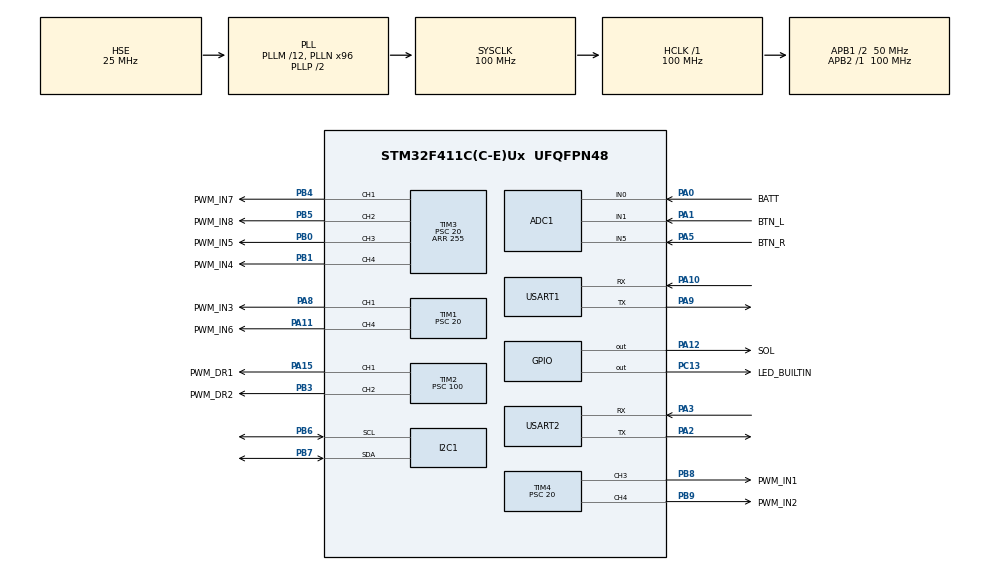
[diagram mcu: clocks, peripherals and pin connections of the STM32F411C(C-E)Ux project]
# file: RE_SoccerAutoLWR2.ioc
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ADC1.Channel-0\#ChannelRegularConversion=ADC_CHANNEL_0
ADC1.Channel-4\#ChannelRegularConversion=ADC_CHANNEL_1
ADC1.Channel-5\#ChannelRegularConversion=ADC_CHANNEL_5
ADC1.ClockPrescaler=ADC_CLOCK_SYNC_PCLK_DIV8
ADC1.ContinuousConvMode=ENABLE
ADC1.DMAContinuousRequests=ENABLE
ADC1.EOCSelection=ADC_EOC_SEQ_CONV
ADC1.InjNumberOfConversion=0
ADC1.NbrOfConversion=3
ADC1.NbrOfConversionFlag=1
ADC1.Rank-0\#ChannelRegularConversion=1
ADC1.Rank-4\#ChannelRegularConversion=2
ADC1.Rank-5\#ChannelRegularConversion=3
ADC1.SamplingTime-0\#ChannelRegularConversion=ADC_SAMPLETIME_480CYCLES
ADC1.SamplingTime-4\#ChannelRegularConversion=ADC_SAMPLETIME_480CYCLES
ADC1.SamplingTime-5\#ChannelRegularConversion=ADC_SAMPLETIME_480CYCLES
ADC1.ScanConvMode=ENABLE
ADC1.master=1
Dma.ADC1.0.Direction=DMA_PERIPH_TO_MEMORY
Dma.ADC1.0.FIFOMode=DMA_FIFOMODE_DISABLE
Dma.ADC1.0.Instance=DMA2_Stream0
Dma.ADC1.0.MemDataAlignment=DMA_MDATAALIGN_HALFWORD
Dma.ADC1.0.MemInc=DMA_MINC_ENABLE
Dma.ADC1.0.Mode=DMA_CIRCULAR
Dma.ADC1.0.PeriphDataAlignment=DMA_PDATAALIGN_HALFWORD
Dma.ADC1.0.PeriphInc=DMA_PINC_DISABLE
Dma.ADC1.0.Priority=DMA_PRIORITY_LOW
Dma.Request0=ADC1
Dma.Request1=USART1_RX
Dma.Request2=USART2_RX
Dma.USART1_RX.1.Direction=DMA_PERIPH_TO_MEMORY
Dma.USART1_RX.1.FIFOMode=DMA_FIFOMODE_DISABLE
Dma.USART1_RX.1.Instance=DMA2_Stream2
Dma.USART1_RX.1.MemDataAlignment=DMA_MDATAALIGN_BYTE
Dma.USART1_RX.1.MemInc=DMA_MINC_ENABLE
Dma.USART1_RX.1.Mode=DMA_CIRCULAR
Dma.USART1_RX.1.PeriphDataAlignment=DMA_PDATAALIGN_BYTE
Dma.USART1_RX.1.PeriphInc=DMA_PINC_DISABLE
Dma.USART1_RX.1.Priority=DMA_PRIORITY_LOW
Dma.USART2_RX.2.Direction=DMA_PERIPH_TO_MEMORY
Dma.USART2_RX.2.FIFOMode=DMA_FIFOMODE_DISABLE
Dma.USART2_RX.2.Instance=DMA1_Stream5
Dma.USART2_RX.2.MemDataAlignment=DMA_MDATAALIGN_BYTE
Dma.USART2_RX.2.MemInc=DMA_MINC_ENABLE
Dma.USART2_RX.2.Mode=DMA_CIRCULAR
Dma.USART2_RX.2.PeriphDataAlignment=DMA_PDATAALIGN_BYTE
Dma.USART2_RX.2.PeriphInc=DMA_PINC_DISABLE
Dma.USART2_RX.2.Priority=DMA_PRIORITY_LOW
I2C1.DutyCycle=I2C_DUTYCYCLE_2
I2C1.I2C_Mode=I2C_Fast
Mcu.Family=STM32F4
Mcu.Name=STM32F411C(C-E)Ux
Mcu.Package=UFQFPN48
NVIC.DMA1_Stream5_IRQn=true\:0\:0\:false\:false\:true\:false\:true\:true
NVIC.DMA2_Stream0_IRQn=true\:0\:0\:false\:false\:true\:false\:true\:true
NVIC.DMA2_Stream2_IRQn=true\:0\:0\:false\:false\:true\:false\:true\:true
NVIC.PriorityGroup=NVIC_PRIORITYGROUP_4
NVIC.USART1_IRQn=true\:0\:0\:false\:false\:true\:true\:true\:true
NVIC.USART2_IRQn=true\:0\:0\:false\:false\:true\:true\:true\:true
PA0-WKUP.GPIO_Label=BATT
PA0-WKUP.Signal=ADCx_IN0
PA1.GPIO_Label=BTN_L
PA1.Signal=ADCx_IN1
PA10.Mode=Asynchronous
PA10.Signal=USART1_RX
PA11.GPIO_Label=PWM_IN6
PA11.Signal=S_TIM1_CH4
PA12.GPIO_Label=SOL
PA12.Signal=GPIO_Output
PA13.Mode=Serial_Wire
PA13.Signal=SYS_JTMS-SWDIO
PA14.Mode=Serial_Wire
PA14.Signal=SYS_JTCK-SWCLK
PA15.GPIO_Label=PWM_DR1
PA15.Signal=S_TIM2_CH1_ETR
PA2.Mode=Asynchronous
PA2.Signal=USART2_TX
PA3.Mode=Asynchronous
PA3.Signal=USART2_RX
PA5.GPIO_Label=BTN_R
PA5.Signal=ADCx_IN5
PA8.GPIO_Label=PWM_IN3
PA8.Signal=S_TIM1_CH1
PA9.Mode=Asynchronous
PA9.Signal=USART1_TX
PB0.GPIO_Label=PWM_IN5
PB0.Signal=S_TIM3_CH3
PB1.GPIO_Label=PWM_IN4
PB1.Signal=S_TIM3_CH4
PB3.GPIO_Label=PWM_DR2
PB3.Signal=S_TIM2_CH2
PB4.GPIO_Label=PWM_IN7
PB4.Signal=S_TIM3_CH1
PB5.GPIO_Label=PWM_IN8
PB5.Signal=S_TIM3_CH2
PB6.Mode=I2C
PB6.Signal=I2C1_SCL
PB7.Mode=I2C
PB7.Signal=I2C1_SDA
PB8.GPIO_Label=PWM_IN1
PB8.Signal=S_TIM4_CH3
PB9.GPIO_Label=PWM_IN2
PB9.Signal=S_TIM4_CH4
PC13-ANTI_TAMP.GPIO_Label=LED_BUILTIN
PC13-ANTI_TAMP.Signal=GPIO_Output
PH0\ -\ OSC_IN.Mode=HSE-External-Oscillator
PH0\ -\ OSC_IN.Signal=RCC_OSC_IN
PH1\ -\ OSC_OUT.Mode=HSE-External-Oscillator
PH1\ -\ OSC_OUT.Signal=RCC_OSC_OUT
ProjectManager.HeapSize=0x200
ProjectManager.StackSize=0x400
ProjectManager.TargetToolchain=STM32CubeIDE
RCC.48MHZClocksFreq_Value=50000000
RCC.AHBFreq_Value=100000000
RCC.APB1CLKDivider=RCC_HCLK_DIV2
RCC.APB1Freq_Value=50000000
RCC.APB1TimFreq_Value=100000000
RCC.APB2Freq_Value=100000000
RCC.APB2TimFreq_Value=100000000
RCC.CortexFreq_Value=100000000
RCC.HCLKFreq_Value=100000000
RCC.HSE_VALUE=25000000
RCC.HSI_VALUE=16000000
RCC.LSE_VALUE=32768
RCC.PLLM=12
RCC.PLLN=96
RCC.PLLSourceVirtual=RCC_PLLSOURCE_HSE
RCC.SYSCLKFreq_VALUE=100000000
RCC.SYSCLKSource=RCC_SYSCLKSOURCE_PLLCLK
RCC.VCOOutputFreq_Value=200000000
SH.ADCx_IN0.0=ADC1_IN0,IN0
SH.ADCx_IN1.0=ADC1_IN1,IN1
SH.ADCx_IN5.0=ADC1_IN5,IN5
SH.S_TIM1_CH1.0=TIM1_CH1,PWM Generation1 CH1
SH.S_TIM1_CH4.0=TIM1_CH4,PWM Generation4 CH4
SH.S_TIM2_CH1_ETR.0=TIM2_CH1,PWM Generation1 CH1
SH.S_TIM2_CH2.0=TIM2_CH2,PWM Generation2 CH2
SH.S_TIM3_CH1.0=TIM3_CH1,PWM Generation1 CH1
SH.S_TIM3_CH2.0=TIM3_CH2,PWM Generation2 CH2
SH.S_TIM3_CH3.0=TIM3_CH3,PWM Generation3 CH3
SH.S_TIM3_CH4.0=TIM3_CH4,PWM Generation4 CH4
SH.S_TIM4_CH3.0=TIM4_CH3,PWM Generation3 CH3
SH.S_TIM4_CH4.0=TIM4_CH4,PWM Generation4 CH4
TIM1.AutoReloadPreload=TIM_AUTORELOAD_PRELOAD_ENABLE
TIM1.Channel-PWM\ Generation1\ CH1=TIM_CHANNEL_1
TIM1.Channel-PWM\ Generation4\ CH4=TIM_CHANNEL_4
TIM1.Period=255
TIM1.Prescaler=20
TIM2.AutoReloadPreload=TIM_AUTORELOAD_PRELOAD_ENABLE
TIM2.Channel-PWM\ Generation1\ CH1=TIM_CHANNEL_1
TIM2.Channel-PWM\ Generation2\ CH2=TIM_CHANNEL_2
TIM2.Period=255
TIM2.Prescaler=100
TIM3.AutoReloadPreload=TIM_AUTORELOAD_PRELOAD_ENABLE
TIM3.Channel-PWM\ Generation1\ CH1=TIM_CHANNEL_1
TIM3.Channel-PWM\ Generation2\ CH2=TIM_CHANNEL_2
TIM3.Channel-PWM\ Generation3\ CH3=TIM_CHANNEL_3
TIM3.Channel-PWM\ Generation4\ CH4=TIM_CHANNEL_4
TIM3.Period=255
TIM3.Prescaler=20
TIM4.AutoReloadPreload=TIM_AUTORELOAD_PRELOAD_ENABLE
TIM4.Channel-PWM\ Generation3\ CH3=TIM_CHANNEL_3
TIM4.Channel-PWM\ Generation4\ CH4=TIM_CHANNEL_4
TIM4.Period=255
TIM4.Prescaler=20
USART1.VirtualMode=VM_ASYNC
USART2.VirtualMode=VM_ASYNC
VP_TIM1_VS_ClockSourceINT.Mode=Internal
VP_TIM2_VS_ClockSourceINT.Mode=Internal
VP_TIM3_VS_ClockSourceINT.Mode=Internal
VP_TIM4_VS_ClockSourceINT.Mode=Internal
board=custom

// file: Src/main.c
/* USER CODE BEGIN Header */
/**
  ******************************************************************************
  * @file           : main.c
  * @brief          : Main program body
  ******************************************************************************
  * @attention
  *
  * Copyright (c) 2025 STMicroelectronics.
  * All rights reserved.
  *
  * This software is licensed under terms that can be found in the LICENSE file
  * in the root directory of this software component.
  * If no LICENSE file comes with this software, it is provided AS-IS.
  *
  ******************************************************************************
  */
/* USER CODE END Header */
#include "main.h"

/* USER CODE BEGIN Includes */
#include "stm32f4xx_hal.h"
#include "u8g2/u8g2.h"
#include "masterSystem/RCJLightWeightMaster.h"
#include "string.h"

/* USER CODE END Includes */

ADC_HandleTypeDef hadc1;
DMA_HandleTypeDef hdma_adc1;

I2C_HandleTypeDef hi2c1;

TIM_HandleTypeDef htim1;
TIM_HandleTypeDef htim2;
TIM_HandleTypeDef htim3;
TIM_HandleTypeDef htim4;

UART_HandleTypeDef huart1;
UART_HandleTypeDef huart2;
DMA_HandleTypeDef hdma_usart1_rx;
DMA_HandleTypeDef hdma_usart2_rx;

void SystemClock_Config(void);
static void MX_GPIO_Init(void);
static void MX_DMA_Init(void);
static void MX_I2C1_Init(void);
static void MX_USART1_UART_Init(void);
static void MX_USART2_UART_Init(void);
static void MX_ADC1_Init(void);
static void MX_TIM1_Init(void);
static void MX_TIM3_Init(void);
static void MX_TIM4_Init(void);
static void MX_TIM2_Init(void);

/* USER CODE BEGIN 0 */
extern uint8_t u8x8_stm32_gpio_and_delay(u8x8_t *u8x8, uint8_t msg, uint8_t arg_int, void *arg_ptr);
extern uint8_t u8x8_byte_stm32_hw_i2c(u8x8_t *u8x8, uint8_t msg, uint8_t arg_int, void *arg_ptr);

u8g2_t u8g2;

uint8_t UART1_rxBuffer[11] = {0};
uint8_t UART2_rxBuffer[8] = {0};

uint32_t UART1_UpdateTick = 0;
uint32_t UART2_UpdateTick = 0;
void HAL_UART_RxCpltCallback(UART_HandleTypeDef *huart)
{
    if(huart == &huart1){
    	UART1_UpdateTick = HAL_GetTick();
    }
    else if(huart == &huart2){
    	UART2_UpdateTick = HAL_GetTick();
    }
}

uint8_t UART1_DMAStarted = 0;
uint8_t UART2_DMAStarted = 0;

uint16_t uart1DMARestartCount = 0;
uint16_t uart2DMARestartCount = 0;

uint32_t UART1_DMA_Timehold = 0;
uint32_t UART2_DMA_Timehold = 0;
void UART_DMA_Restart(uint16_t _uartX){
	if(_uartX == CAM_UART && UART1_DMAStarted /*&& (uart1DMARestartCount < 300) */&& (HAL_GetTick() - UART1_DMA_Timehold > 1000)){
		UART1_DMA_Timehold = HAL_GetTick();
		uart1DMARestartCount++;
		HAL_UART_DMAStop(&huart1);
		HAL_UART_Receive_DMA(&huart1, UART1_rxBuffer, 11);
	}
	else if(_uartX == IMU_UART && UART2_DMAStarted /*&& (uart2DMARestartCount < 300) */&& (HAL_GetTick() - UART2_DMA_Timehold > 1000)){
		UART2_DMA_Timehold = HAL_GetTick();
		uart2DMARestartCount++;
		HAL_UART_DMAStop(&huart2);
		HAL_UART_Receive_DMA(&huart2, UART2_rxBuffer, 8);
	}
}

uint8_t *getUART1Data(){
	return UART1_rxBuffer;
}

uint8_t *getUART2Data(){
	return UART2_rxBuffer;
}

void HAL_ADC_ConvCpltCallback(ADC_HandleTypeDef* hadc)
{

}

uint32_t ledBlinkTime = 0;
uint32_t loopUpdateTime = 0;
uint32_t loopElapsedTime = 0;

uint16_t ADC_VAL[3] = {0};
uint16_t analogRead(uint16_t _pin){
	if(_pin == BATT_Pin) return ADC_VAL[0];
	else if(_pin == BTN_L_Pin) return ADC_VAL[1];
	else if(_pin == BTN_R_Pin) return ADC_VAL[2];
	else return 0;
}

/* USER CODE END 0 */

int main(void)
{

  /* MCU Configuration--------------------------------------------------------*/

  /* Reset of all peripherals, Initializes the Flash interface and the Systick. */
  HAL_Init();

  /* Configure the system clock */
  SystemClock_Config();

  /* Initialize all configured peripherals */
  MX_GPIO_Init();
  MX_DMA_Init();
  MX_I2C1_Init();
  MX_USART1_UART_Init();
  MX_USART2_UART_Init();
  MX_ADC1_Init();
  MX_TIM1_Init();
  MX_TIM3_Init();
  MX_TIM4_Init();
  MX_TIM2_Init();
  /* USER CODE BEGIN 2 */
  HAL_ADC_Start_DMA(&hadc1, (uint32_t *)ADC_VAL, 3);

  HAL_TIM_PWM_Start(&htim1, TIM_CHANNEL_1);
  HAL_TIM_PWM_Start(&htim1, TIM_CHANNEL_4);
  HAL_TIM_PWM_Start(&htim2, TIM_CHANNEL_1);
  HAL_TIM_PWM_Start(&htim2, TIM_CHANNEL_2);
  HAL_TIM_PWM_Start(&htim3, TIM_CHANNEL_1);
  HAL_TIM_PWM_Start(&htim3, TIM_CHANNEL_2);
  HAL_TIM_PWM_Start(&htim3, TIM_CHANNEL_3);
  HAL_TIM_PWM_Start(&htim3, TIM_CHANNEL_4);
  HAL_TIM_PWM_Start(&htim4, TIM_CHANNEL_3);
  HAL_TIM_PWM_Start(&htim4, TIM_CHANNEL_4);

  u8g2_Setup_sh1106_i2c_128x64_noname_f(&u8g2, U8G2_R0, u8x8_byte_stm32_hw_i2c, u8x8_stm32_gpio_and_delay);
  u8g2_InitDisplay(&u8g2);
  u8g2_SetPowerSave(&u8g2, 0);
  u8g2_ClearBuffer(&u8g2);

  systemBegin();

  /* USER CODE END 2 */

  /* Infinite loop */
  while (1)
  {

    /* USER CODE BEGIN 3 */
	systemLoop();
	sensorsLoop();
	imuLoop();
	camLoop();
	actuatorLoop();
	displayUpdate();

	loopElapsedTime = HAL_GetTick() - loopUpdateTime;
	loopUpdateTime = HAL_GetTick();

//	if(HAL_GetTick() > 2000 && !UART1_DMAStarted) {
	if(HAL_GetTick() > 2500 && !UART1_DMAStarted) {
	  UART1_DMAStarted = 1;
	  HAL_UART_Receive_DMA(&huart1, UART1_rxBuffer, 11);
	}

//	if(HAL_GetTick() > 20000 && !UART2_DMAStarted) {
	if(HAL_GetTick() > 2500 && !UART2_DMAStarted) {
	  UART2_DMAStarted = 1;
	  HAL_UART_Receive_DMA(&huart2, UART2_rxBuffer, 8);
	}

	if(HAL_GetTick() - UART1_UpdateTick > 1000){
		UART1_UpdateTick = HAL_GetTick();
		memset(UART1_rxBuffer, 0, sizeof(UART1_rxBuffer));
	}
	if(HAL_GetTick() - UART2_UpdateTick > 1000){
		UART2_UpdateTick = HAL_GetTick();
		memset(UART2_rxBuffer, 0, sizeof(UART2_rxBuffer));
	}

  }
  /* USER CODE END 3 */
}

void SystemClock_Config(void)
{
  RCC_OscInitTypeDef RCC_OscInitStruct = {0};
  RCC_ClkInitTypeDef RCC_ClkInitStruct = {0};

  /** Configure the main internal regulator output voltage
  */
  __HAL_RCC_PWR_CLK_ENABLE();
  __HAL_PWR_VOLTAGESCALING_CONFIG(PWR_REGULATOR_VOLTAGE_SCALE1);

  /** Initializes the RCC Oscillators according to the specified parameters
  * in the RCC_OscInitTypeDef structure.
  */
  RCC_OscInitStruct.OscillatorType = RCC_OSCILLATORTYPE_HSE;
  RCC_OscInitStruct.HSEState = RCC_HSE_ON;
  RCC_OscInitStruct.PLL.PLLState = RCC_PLL_ON;
  RCC_OscInitStruct.PLL.PLLSource = RCC_PLLSOURCE_HSE;
  RCC_OscInitStruct.PLL.PLLM = 12;
  RCC_OscInitStruct.PLL.PLLN = 96;
  RCC_OscInitStruct.PLL.PLLP = RCC_PLLP_DIV2;
  RCC_OscInitStruct.PLL.PLLQ = 4;
  if (HAL_RCC_OscConfig(&RCC_OscInitStruct) != HAL_OK)
  {
    Error_Handler();
  }

  /** Initializes the CPU, AHB and APB buses clocks
  */
  RCC_ClkInitStruct.ClockType = RCC_CLOCKTYPE_HCLK|RCC_CLOCKTYPE_SYSCLK
                              |RCC_CLOCKTYPE_PCLK1|RCC_CLOCKTYPE_PCLK2;
  RCC_ClkInitStruct.SYSCLKSource = RCC_SYSCLKSOURCE_PLLCLK;
  RCC_ClkInitStruct.AHBCLKDivider = RCC_SYSCLK_DIV1;
  RCC_ClkInitStruct.APB1CLKDivider = RCC_HCLK_DIV2;
  RCC_ClkInitStruct.APB2CLKDivider = RCC_HCLK_DIV1;

  if (HAL_RCC_ClockConfig(&RCC_ClkInitStruct, FLASH_LATENCY_3) != HAL_OK)
  {
    Error_Handler();
  }
}

static void MX_ADC1_Init(void)
{

  ADC_ChannelConfTypeDef sConfig = {0};

  /** Configure the global features of the ADC (Clock, Resolution, Data Alignment and number of conversion)
  */
  hadc1.Instance = ADC1;
  hadc1.Init.ClockPrescaler = ADC_CLOCK_SYNC_PCLK_DIV8;
  hadc1.Init.Resolution = ADC_RESOLUTION_12B;
  hadc1.Init.ScanConvMode = ENABLE;
  hadc1.Init.ContinuousConvMode = ENABLE;
  hadc1.Init.DiscontinuousConvMode = DISABLE;
  hadc1.Init.ExternalTrigConvEdge = ADC_EXTERNALTRIGCONVEDGE_NONE;
  hadc1.Init.ExternalTrigConv = ADC_SOFTWARE_START;
  hadc1.Init.DataAlign = ADC_DATAALIGN_RIGHT;
  hadc1.Init.NbrOfConversion = 3;
  hadc1.Init.DMAContinuousRequests = ENABLE;
  hadc1.Init.EOCSelection = ADC_EOC_SEQ_CONV;
  if (HAL_ADC_Init(&hadc1) != HAL_OK)
  {
    Error_Handler();
  }

  /** Configure for the selected ADC regular channel its corresponding rank in the sequencer and its sample time.
  */
  sConfig.Channel = ADC_CHANNEL_0;
  sConfig.Rank = 1;
  sConfig.SamplingTime = ADC_SAMPLETIME_480CYCLES;
  if (HAL_ADC_ConfigChannel(&hadc1, &sConfig) != HAL_OK)
  {
    Error_Handler();
  }

  /** Configure for the selected ADC regular channel its corresponding rank in the sequencer and its sample time.
  */
  sConfig.Channel = ADC_CHANNEL_1;
  sConfig.Rank = 2;
  if (HAL_ADC_ConfigChannel(&hadc1, &sConfig) != HAL_OK)
  {
    Error_Handler();
  }

  /** Configure for the selected ADC regular channel its corresponding rank in the sequencer and its sample time.
  */
  sConfig.Channel = ADC_CHANNEL_5;
  sConfig.Rank = 3;
  if (HAL_ADC_ConfigChannel(&hadc1, &sConfig) != HAL_OK)
  {
    Error_Handler();
  }

}

static void MX_I2C1_Init(void)
{

  hi2c1.Instance = I2C1;
  hi2c1.Init.ClockSpeed = 400000;
  hi2c1.Init.DutyCycle = I2C_DUTYCYCLE_2;
  hi2c1.Init.OwnAddress1 = 0;
  hi2c1.Init.AddressingMode = I2C_ADDRESSINGMODE_7BIT;
  hi2c1.Init.DualAddressMode = I2C_DUALADDRESS_DISABLE;
  hi2c1.Init.OwnAddress2 = 0;
  hi2c1.Init.GeneralCallMode = I2C_GENERALCALL_DISABLE;
  hi2c1.Init.NoStretchMode = I2C_NOSTRETCH_DISABLE;
  if (HAL_I2C_Init(&hi2c1) != HAL_OK)
  {
    Error_Handler();
  }

}

static void MX_TIM1_Init(void)
{

  TIM_ClockConfigTypeDef sClockSourceConfig = {0};
  TIM_MasterConfigTypeDef sMasterConfig = {0};
  TIM_OC_InitTypeDef sConfigOC = {0};
  TIM_BreakDeadTimeConfigTypeDef sBreakDeadTimeConfig = {0};

  htim1.Instance = TIM1;
  htim1.Init.Prescaler = 20;
  htim1.Init.CounterMode = TIM_COUNTERMODE_UP;
  htim1.Init.Period = 255;
  htim1.Init.ClockDivision = TIM_CLOCKDIVISION_DIV1;
  htim1.Init.RepetitionCounter = 0;
  htim1.Init.AutoReloadPreload = TIM_AUTORELOAD_PRELOAD_ENABLE;
  if (HAL_TIM_Base_Init(&htim1) != HAL_OK)
  {
    Error_Handler();
  }
  sClockSourceConfig.ClockSource = TIM_CLOCKSOURCE_INTERNAL;
  if (HAL_TIM_ConfigClockSource(&htim1, &sClockSourceConfig) != HAL_OK)
  {
    Error_Handler();
  }
  if (HAL_TIM_PWM_Init(&htim1) != HAL_OK)
  {
    Error_Handler();
  }
  sMasterConfig.MasterOutputTrigger = TIM_TRGO_RESET;
  sMasterConfig.MasterSlaveMode = TIM_MASTERSLAVEMODE_DISABLE;
  if (HAL_TIMEx_MasterConfigSynchronization(&htim1, &sMasterConfig) != HAL_OK)
  {
    Error_Handler();
  }
  sConfigOC.OCMode = TIM_OCMODE_PWM1;
  sConfigOC.Pulse = 0;
  sConfigOC.OCPolarity = TIM_OCPOLARITY_HIGH;
  sConfigOC.OCNPolarity = TIM_OCNPOLARITY_HIGH;
  sConfigOC.OCFastMode = TIM_OCFAST_DISABLE;
  sConfigOC.OCIdleState = TIM_OCIDLESTATE_RESET;
  sConfigOC.OCNIdleState = TIM_OCNIDLESTATE_RESET;
  if (HAL_TIM_PWM_ConfigChannel(&htim1, &sConfigOC, TIM_CHANNEL_1) != HAL_OK)
  {
    Error_Handler();
  }
  if (HAL_TIM_PWM_ConfigChannel(&htim1, &sConfigOC, TIM_CHANNEL_4) != HAL_OK)
  {
    Error_Handler();
  }
  sBreakDeadTimeConfig.OffStateRunMode = TIM_OSSR_DISABLE;
  sBreakDeadTimeConfig.OffStateIDLEMode = TIM_OSSI_DISABLE;
  sBreakDeadTimeConfig.LockLevel = TIM_LOCKLEVEL_OFF;
  sBreakDeadTimeConfig.DeadTime = 0;
  sBreakDeadTimeConfig.BreakState = TIM_BREAK_DISABLE;
  sBreakDeadTimeConfig.BreakPolarity = TIM_BREAKPOLARITY_HIGH;
  sBreakDeadTimeConfig.AutomaticOutput = TIM_AUTOMATICOUTPUT_DISABLE;
  if (HAL_TIMEx_ConfigBreakDeadTime(&htim1, &sBreakDeadTimeConfig) != HAL_OK)
  {
    Error_Handler();
  }
  HAL_TIM_MspPostInit(&htim1);

}

static void MX_TIM2_Init(void)
{

  TIM_ClockConfigTypeDef sClockSourceConfig = {0};
  TIM_MasterConfigTypeDef sMasterConfig = {0};
  TIM_OC_InitTypeDef sConfigOC = {0};

  htim2.Instance = TIM2;
  htim2.Init.Prescaler = 100;
  htim2.Init.CounterMode = TIM_COUNTERMODE_UP;
  htim2.Init.Period = 255;
  htim2.Init.ClockDivision = TIM_CLOCKDIVISION_DIV1;
  htim2.Init.AutoReloadPreload = TIM_AUTORELOAD_PRELOAD_ENABLE;
  if (HAL_TIM_Base_Init(&htim2) != HAL_OK)
  {
    Error_Handler();
  }
  sClockSourceConfig.ClockSource = TIM_CLOCKSOURCE_INTERNAL;
  if (HAL_TIM_ConfigClockSource(&htim2, &sClockSourceConfig) != HAL_OK)
  {
    Error_Handler();
  }
  if (HAL_TIM_PWM_Init(&htim2) != HAL_OK)
  {
    Error_Handler();
  }
  sMasterConfig.MasterOutputTrigger = TIM_TRGO_RESET;
  sMasterConfig.MasterSlaveMode = TIM_MASTERSLAVEMODE_DISABLE;
  if (HAL_TIMEx_MasterConfigSynchronization(&htim2, &sMasterConfig) != HAL_OK)
  {
    Error_Handler();
  }
  sConfigOC.OCMode = TIM_OCMODE_PWM1;
  sConfigOC.Pulse = 0;
  sConfigOC.OCPolarity = TIM_OCPOLARITY_HIGH;
  sConfigOC.OCFastMode = TIM_OCFAST_DISABLE;
  if (HAL_TIM_PWM_ConfigChannel(&htim2, &sConfigOC, TIM_CHANNEL_1) != HAL_OK)
  {
    Error_Handler();
  }
  if (HAL_TIM_PWM_ConfigChannel(&htim2, &sConfigOC, TIM_CHANNEL_2) != HAL_OK)
  {
    Error_Handler();
  }
  HAL_TIM_MspPostInit(&htim2);

}

static void MX_TIM3_Init(void)
{

  TIM_ClockConfigTypeDef sClockSourceConfig = {0};
  TIM_MasterConfigTypeDef sMasterConfig = {0};
  TIM_OC_InitTypeDef sConfigOC = {0};

  htim3.Instance = TIM3;
  htim3.Init.Prescaler = 20;
  htim3.Init.CounterMode = TIM_COUNTERMODE_UP;
  htim3.Init.Period = 255;
  htim3.Init.ClockDivision = TIM_CLOCKDIVISION_DIV1;
  htim3.Init.AutoReloadPreload = TIM_AUTORELOAD_PRELOAD_ENABLE;
  if (HAL_TIM_Base_Init(&htim3) != HAL_OK)
  {
    Error_Handler();
  }
  sClockSourceConfig.ClockSource = TIM_CLOCKSOURCE_INTERNAL;
  if (HAL_TIM_ConfigClockSource(&htim3, &sClockSourceConfig) != HAL_OK)
  {
    Error_Handler();
  }
  if (HAL_TIM_PWM_Init(&htim3) != HAL_OK)
  {
    Error_Handler();
  }
  sMasterConfig.MasterOutputTrigger = TIM_TRGO_RESET;
  sMasterConfig.MasterSlaveMode = TIM_MASTERSLAVEMODE_DISABLE;
  if (HAL_TIMEx_MasterConfigSynchronization(&htim3, &sMasterConfig) != HAL_OK)
  {
    Error_Handler();
  }
  sConfigOC.OCMode = TIM_OCMODE_PWM1;
  sConfigOC.Pulse = 0;
  sConfigOC.OCPolarity = TIM_OCPOLARITY_HIGH;
  sConfigOC.OCFastMode = TIM_OCFAST_DISABLE;
  if (HAL_TIM_PWM_ConfigChannel(&htim3, &sConfigOC, TIM_CHANNEL_1) != HAL_OK)
  {
    Error_Handler();
  }
  if (HAL_TIM_PWM_ConfigChannel(&htim3, &sConfigOC, TIM_CHANNEL_2) != HAL_OK)
  {
    Error_Handler();
  }
  if (HAL_TIM_PWM_ConfigChannel(&htim3, &sConfigOC, TIM_CHANNEL_3) != HAL_OK)
  {
    Error_Handler();
  }
  if (HAL_TIM_PWM_ConfigChannel(&htim3, &sConfigOC, TIM_CHANNEL_4) != HAL_OK)
  {
    Error_Handler();
  }
  HAL_TIM_MspPostInit(&htim3);

}

static void MX_TIM4_Init(void)
{

  TIM_ClockConfigTypeDef sClockSourceConfig = {0};
  TIM_MasterConfigTypeDef sMasterConfig = {0};
  TIM_OC_InitTypeDef sConfigOC = {0};

  htim4.Instance = TIM4;
  htim4.Init.Prescaler = 20;
  htim4.Init.CounterMode = TIM_COUNTERMODE_UP;
  htim4.Init.Period = 255;
  htim4.Init.ClockDivision = TIM_CLOCKDIVISION_DIV1;
  htim4.Init.AutoReloadPreload = TIM_AUTORELOAD_PRELOAD_ENABLE;
  if (HAL_TIM_Base_Init(&htim4) != HAL_OK)
  {
    Error_Handler();
  }
  sClockSourceConfig.ClockSource = TIM_CLOCKSOURCE_INTERNAL;
  if (HAL_TIM_ConfigClockSource(&htim4, &sClockSourceConfig) != HAL_OK)
  {
    Error_Handler();
  }
  if (HAL_TIM_PWM_Init(&htim4) != HAL_OK)
  {
    Error_Handler();
  }
  sMasterConfig.MasterOutputTrigger = TIM_TRGO_RESET;
  sMasterConfig.MasterSlaveMode = TIM_MASTERSLAVEMODE_DISABLE;
  if (HAL_TIMEx_MasterConfigSynchronization(&htim4, &sMasterConfig) != HAL_OK)
  {
    Error_Handler();
  }
  sConfigOC.OCMode = TIM_OCMODE_PWM1;
  sConfigOC.Pulse = 0;
  sConfigOC.OCPolarity = TIM_OCPOLARITY_HIGH;
  sConfigOC.OCFastMode = TIM_OCFAST_DISABLE;
  if (HAL_TIM_PWM_ConfigChannel(&htim4, &sConfigOC, TIM_CHANNEL_3) != HAL_OK)
  {
    Error_Handler();
  }
  if (HAL_TIM_PWM_ConfigChannel(&htim4, &sConfigOC, TIM_CHANNEL_4) != HAL_OK)
  {
    Error_Handler();
  }
  HAL_TIM_MspPostInit(&htim4);

}

static void MX_USART1_UART_Init(void)
{

  huart1.Instance = USART1;
  huart1.Init.BaudRate = 115200;
  huart1.Init.WordLength = UART_WORDLENGTH_8B;
  huart1.Init.StopBits = UART_STOPBITS_1;
  huart1.Init.Parity = UART_PARITY_NONE;
  huart1.Init.Mode = UART_MODE_TX_RX;
  huart1.Init.HwFlowCtl = UART_HWCONTROL_NONE;
  huart1.Init.OverSampling = UART_OVERSAMPLING_16;
  if (HAL_UART_Init(&huart1) != HAL_OK)
  {
    Error_Handler();
  }

}

static void MX_USART2_UART_Init(void)
{

  huart2.Instance = USART2;
  huart2.Init.BaudRate = 115200;
  huart2.Init.WordLength = UART_WORDLENGTH_8B;
  huart2.Init.StopBits = UART_STOPBITS_1;
  huart2.Init.Parity = UART_PARITY_NONE;
  huart2.Init.Mode = UART_MODE_TX_RX;
  huart2.Init.HwFlowCtl = UART_HWCONTROL_NONE;
  huart2.Init.OverSampling = UART_OVERSAMPLING_16;
  if (HAL_UART_Init(&huart2) != HAL_OK)
  {
    Error_Handler();
  }

}

static void MX_DMA_Init(void)
{

  /* DMA controller clock enable */
  __HAL_RCC_DMA2_CLK_ENABLE();
  __HAL_RCC_DMA1_CLK_ENABLE();

  /* DMA interrupt init */
  /* DMA1_Stream5_IRQn interrupt configuration */
  HAL_NVIC_SetPriority(DMA1_Stream5_IRQn, 0, 0);
  HAL_NVIC_EnableIRQ(DMA1_Stream5_IRQn);
  /* DMA2_Stream0_IRQn interrupt configuration */
  HAL_NVIC_SetPriority(DMA2_Stream0_IRQn, 0, 0);
  HAL_NVIC_EnableIRQ(DMA2_Stream0_IRQn);
  /* DMA2_Stream2_IRQn interrupt configuration */
  HAL_NVIC_SetPriority(DMA2_Stream2_IRQn, 0, 0);
  HAL_NVIC_EnableIRQ(DMA2_Stream2_IRQn);

}

static void MX_GPIO_Init(void)
{
  GPIO_InitTypeDef GPIO_InitStruct = {0};

  /* GPIO Ports Clock Enable */
  __HAL_RCC_GPIOC_CLK_ENABLE();
  __HAL_RCC_GPIOH_CLK_ENABLE();
  __HAL_RCC_GPIOA_CLK_ENABLE();
  __HAL_RCC_GPIOB_CLK_ENABLE();

  /*Configure GPIO pin Output Level */
  HAL_GPIO_WritePin(LED_BUILTIN_GPIO_Port, LED_BUILTIN_Pin, GPIO_PIN_RESET);

  /*Configure GPIO pin Output Level */
  HAL_GPIO_WritePin(SOL_GPIO_Port, SOL_Pin, GPIO_PIN_RESET);

  /*Configure GPIO pin : LED_BUILTIN_Pin */
  GPIO_InitStruct.Pin = LED_BUILTIN_Pin;
  GPIO_InitStruct.Mode = GPIO_MODE_OUTPUT_PP;
  GPIO_InitStruct.Pull = GPIO_NOPULL;
  GPIO_InitStruct.Speed = GPIO_SPEED_FREQ_LOW;
  HAL_GPIO_Init(LED_BUILTIN_GPIO_Port, &GPIO_InitStruct);

  /*Configure GPIO pin : SOL_Pin */
  GPIO_InitStruct.Pin = SOL_Pin;
  GPIO_InitStruct.Mode = GPIO_MODE_OUTPUT_PP;
  GPIO_InitStruct.Pull = GPIO_NOPULL;
  GPIO_InitStruct.Speed = GPIO_SPEED_FREQ_LOW;
  HAL_GPIO_Init(SOL_GPIO_Port, &GPIO_InitStruct);

}

void Error_Handler(void)
{
  __disable_irq();
  while (1)
  {
  }
}
